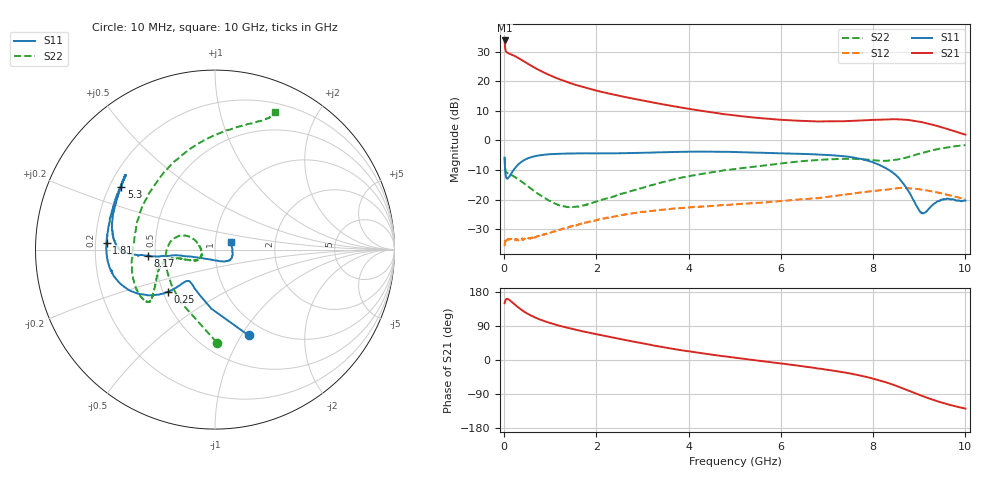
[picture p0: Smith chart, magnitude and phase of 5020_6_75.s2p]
# Hz S  dB  R 50
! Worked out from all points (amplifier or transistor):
!   1000 points, 10 MHz to 10 GHz, reference 50 ohm
!   highest |S21| = 33.8 dB at 10 MHz (marker M1)
!   |S21| within 3 dB of that: start of sweep to 27.21 MHz
!   unconditionally stable (mu >= 1): 49.98 MHz to end of sweep
!   at 1.67 GHz: K = 1.15, MAG = 20.8 dB, |S12| = -28.2 dB
!   at 5.01 GHz: K = 1.11, MAG = 12.9 dB, |S12| = -21.5 dB
!   at 10 GHz: K = 1.15, MAG = 8.5 dB, |S12| = -19.8 dB
!   S11 on the Smith chart (normalised r, x): 10 MHz: 0.83, -1.07; 250 MHz: 0.53, -0.28; 1.81 GHz: 0.25, +0.03; 5.3 GHz: 0.25, +0.29; 8.17 GHz: 0.46, -0.04; 10 GHz: 1.19, +0.10
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1e7  -5.80 -68.6  33.75 149.9  -35.66 20.5  -5.72 -88.9
7e7  -12.91 -128.9  29.62 161.3  -33.57 8.5  -11.00 -167.8
8e7  -12.76 -130.6  29.53 160.8  -33.21 7.5  -11.14 -170.9
1.1e8  -12.25 -133.0  29.33 158.7  -33.24 7.6  -11.33 -178.2
2.5e8  -9.06 -138.2  28.32 144.3  -33.46 8.4  -12.49 164.8
3.7e8  -7.26 -144.3  27.25 132.9  -33.43 12.5  -13.76 157.8
5.1e8  -6.04 -150.6  25.93 122.0  -33.22 21.4  -15.39 153.8
6.4e8  -5.39 -156.2  24.73 113.9  -32.80 22.7  -16.98 153.3
7.8e8  -4.99 -160.8  23.58 106.6  -32.36 28.1  -18.44 155.6
9.5e8  -4.68 -165.5  22.29 99.3  -31.34 32.2  -20.14 161.5
1.15e9  -4.52 -170.4  20.96 92.0  -30.31 34.9  -21.58 172.2
1.68e9  -4.36 179.0  18.18 76.3  -27.98 38.7  -21.98 -159.5
1.81e9  -4.36 176.4  17.61 72.9  -27.49 38.6  -21.54 -155.6
2.43e9  -4.33 164.5  15.29 57.3  -25.54 35.1  -18.57 -148.9
3.34e9  -4.01 147.8  12.49 36.2  -23.51 25.6  -14.48 -164.2
5.01e9  -3.89 143.2  8.45 6.0  -21.50 8.8  -9.60 -160.9
5.3e9  -4.03 146.0  7.93 1.4  -21.24 7.2  -9.08 -156.0
6.67e9  -4.62 168.2  6.50 -19.8  -19.61 -6.8  -6.73 -141.4
8.17e9  -8.53 -174.9  7.03 -55.1  -16.79 -35.9  -6.87 175.5
8.34e9  -9.90 -173.1  7.13 -61.3  -16.51 -41.0  -6.73 161.5
9.06e9  -24.61 -107.2  6.17 -94.7  -16.58 -71.7  -4.20 94.7
1e10  -20.28 25.2  1.99 -128.2  -19.83 -103.4  -1.54 66.6
